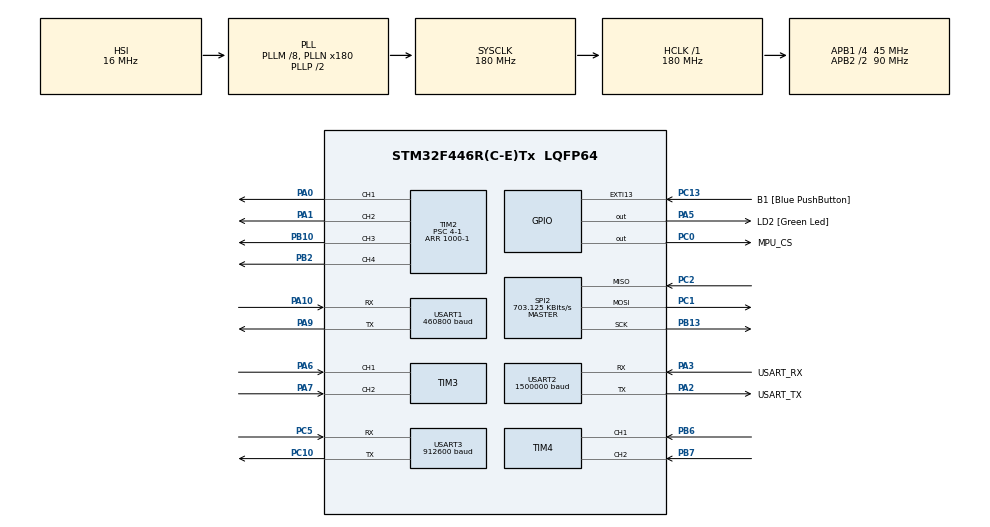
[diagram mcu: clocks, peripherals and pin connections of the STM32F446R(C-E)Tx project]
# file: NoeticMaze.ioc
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Dma.Request0=USART1_RX
Dma.Request1=USART1_TX
Dma.Request2=USART3_RX
Dma.Request3=USART3_TX
Dma.USART1_RX.0.Direction=DMA_PERIPH_TO_MEMORY
Dma.USART1_RX.0.FIFOMode=DMA_FIFOMODE_DISABLE
Dma.USART1_RX.0.Instance=DMA2_Stream2
Dma.USART1_RX.0.MemDataAlignment=DMA_MDATAALIGN_BYTE
Dma.USART1_RX.0.MemInc=DMA_MINC_ENABLE
Dma.USART1_RX.0.Mode=DMA_CIRCULAR
Dma.USART1_RX.0.PeriphDataAlignment=DMA_PDATAALIGN_BYTE
Dma.USART1_RX.0.PeriphInc=DMA_PINC_DISABLE
Dma.USART1_RX.0.Priority=DMA_PRIORITY_LOW
Dma.USART1_TX.1.Direction=DMA_MEMORY_TO_PERIPH
Dma.USART1_TX.1.FIFOMode=DMA_FIFOMODE_DISABLE
Dma.USART1_TX.1.Instance=DMA2_Stream7
Dma.USART1_TX.1.MemDataAlignment=DMA_MDATAALIGN_BYTE
Dma.USART1_TX.1.MemInc=DMA_MINC_ENABLE
Dma.USART1_TX.1.Mode=DMA_NORMAL
Dma.USART1_TX.1.PeriphDataAlignment=DMA_PDATAALIGN_BYTE
Dma.USART1_TX.1.PeriphInc=DMA_PINC_DISABLE
Dma.USART1_TX.1.Priority=DMA_PRIORITY_LOW
Dma.USART3_RX.2.Direction=DMA_PERIPH_TO_MEMORY
Dma.USART3_RX.2.FIFOMode=DMA_FIFOMODE_DISABLE
Dma.USART3_RX.2.Instance=DMA1_Stream1
Dma.USART3_RX.2.MemDataAlignment=DMA_MDATAALIGN_BYTE
Dma.USART3_RX.2.MemInc=DMA_MINC_ENABLE
Dma.USART3_RX.2.Mode=DMA_NORMAL
Dma.USART3_RX.2.PeriphDataAlignment=DMA_PDATAALIGN_BYTE
Dma.USART3_RX.2.PeriphInc=DMA_PINC_DISABLE
Dma.USART3_RX.2.Priority=DMA_PRIORITY_LOW
Dma.USART3_TX.3.Direction=DMA_MEMORY_TO_PERIPH
Dma.USART3_TX.3.FIFOMode=DMA_FIFOMODE_DISABLE
Dma.USART3_TX.3.Instance=DMA1_Stream3
Dma.USART3_TX.3.MemDataAlignment=DMA_MDATAALIGN_BYTE
Dma.USART3_TX.3.MemInc=DMA_MINC_ENABLE
Dma.USART3_TX.3.Mode=DMA_NORMAL
Dma.USART3_TX.3.PeriphDataAlignment=DMA_PDATAALIGN_BYTE
Dma.USART3_TX.3.PeriphInc=DMA_PINC_DISABLE
Dma.USART3_TX.3.Priority=DMA_PRIORITY_LOW
FREERTOS.Events01=PathEvent,Dynamic,NULL
FREERTOS.Mutexes01=PrintfMutex,Dynamic,NULL,Available;MapDataMutex,Dynamic,NULL,Available
FREERTOS.Queues01=LidarQueue,3,4,1,Dynamic,NULL,NULL;ReqQueue,3,20,1,Dynamic,NULL,NULL;RespQueue,2,12,1,Dynamic,NULL,NULL
FREERTOS.Tasks01=defaultTask,8,128,StartDefaultTask,Default,NULL,Dynamic,NULL,NULL;MotionTask,48,256,StartMotionTask,As external,NULL,Dynamic,NULL,NULL;ImuTask,40,512,StartImuTask,As external,NULL,Dynamic,NULL,NULL;LidarRouteTask,32,256,StartLidarRouteTask,As external,NULL,Dynamic,NULL,NULL;AlgorithmBrain,24,1024,StartAlgorithmBrain,As external,NULL,Dynamic,NULL,NULL;TaskPrint,8,1024,StartTaskPrint,As external,NULL,Dynamic,NULL,NULL;PlannerTask,16,1024,StartPlannerTask,As external,NULL,Dynamic,NULL,NULL
FREERTOS.configENABLE_FPU=1
FREERTOS.configTOTAL_HEAP_SIZE=30720
FREERTOS.configUSE_NEWLIB_REENTRANT=1
Mcu.Family=STM32F4
Mcu.Name=STM32F446R(C-E)Tx
Mcu.Package=LQFP64
NVIC.DMA1_Stream1_IRQn=true\:5\:0\:false\:false\:true\:true\:false\:true\:true
NVIC.DMA1_Stream3_IRQn=true\:5\:0\:false\:false\:true\:true\:false\:true\:true
NVIC.DMA2_Stream2_IRQn=true\:5\:0\:false\:false\:true\:true\:false\:true\:true
NVIC.DMA2_Stream7_IRQn=true\:5\:0\:false\:false\:true\:true\:false\:true\:true
NVIC.PriorityGroup=NVIC_PRIORITYGROUP_4
NVIC.TIM6_DAC_IRQn=true\:0\:0\:true\:false\:true\:false\:false\:true\:true
NVIC.TimeBase=TIM6_DAC_IRQn
NVIC.TimeBaseIP=TIM6
NVIC.USART1_IRQn=true\:5\:0\:false\:false\:true\:true\:true\:true\:true
NVIC.USART3_IRQn=true\:5\:0\:false\:false\:true\:true\:true\:true\:true
PA0-WKUP.Signal=S_TIM2_CH1_ETR
PA1.Signal=S_TIM2_CH2
PA10.Mode=Asynchronous
PA10.Signal=USART1_RX
PA13.GPIO_Label=TMS
PA13.Mode=Serial_Wire
PA13.Signal=SYS_JTMS-SWDIO
PA14.GPIO_Label=TCK
PA14.Mode=Serial_Wire
PA14.Signal=SYS_JTCK-SWCLK
PA2.GPIO_Label=USART_TX
PA2.Mode=Asynchronous
PA2.Signal=USART2_TX
PA3.GPIO_Label=USART_RX
PA3.Mode=Asynchronous
PA3.Signal=USART2_RX
PA5.GPIO_Label=LD2 [Green Led]
PA5.Signal=GPIO_Output
PA6.Signal=S_TIM3_CH1
PA7.Signal=S_TIM3_CH2
PA9.Mode=Asynchronous
PA9.Signal=USART1_TX
PB10.Signal=S_TIM2_CH3
PB13.Mode=Full_Duplex_Master
PB13.Signal=SPI2_SCK
PB2.Signal=S_TIM2_CH4
PB3.GPIO_Label=SWO
PB3.Signal=SYS_JTDO-SWO
PB6.Signal=S_TIM4_CH1
PB7.Signal=S_TIM4_CH2
PC0.GPIO_Label=MPU_CS
PC0.GPIO_Speed=GPIO_SPEED_FREQ_VERY_HIGH
PC0.PinState=GPIO_PIN_SET
PC0.Signal=GPIO_Output
PC1.Mode=Full_Duplex_Master
PC1.Signal=SPI2_MOSI
PC10.Mode=Asynchronous
PC10.Signal=USART3_TX
PC13.GPIO_Label=B1 [Blue PushButton]
PC13.GPIO_ModeDefaultEXTI=GPIO_MODE_IT_FALLING
PC13.Signal=GPXTI13
PC14-OSC32_IN.Mode=LSE-External-Oscillator
PC14-OSC32_IN.Signal=RCC_OSC32_IN
PC15-OSC32_OUT.Mode=LSE-External-Oscillator
PC15-OSC32_OUT.Signal=RCC_OSC32_OUT
PC2.Mode=Full_Duplex_Master
PC2.Signal=SPI2_MISO
PC5.Mode=Asynchronous
PC5.Signal=USART3_RX
PH0-OSC_IN.Mode=HSE-External-Oscillator
PH0-OSC_IN.Signal=RCC_OSC_IN
PH1-OSC_OUT.Mode=HSE-External-Oscillator
PH1-OSC_OUT.Signal=RCC_OSC_OUT
ProjectManager.HeapSize=0x200
ProjectManager.StackSize=0x400
ProjectManager.TargetToolchain=CMake
RCC.48MHZClocksFreq_Value=84000000
RCC.AHBFreq_Value=180000000
RCC.APB1CLKDivider=RCC_HCLK_DIV4
RCC.APB1Freq_Value=45000000
RCC.APB1TimFreq_Value=90000000
RCC.APB2CLKDivider=RCC_HCLK_DIV2
RCC.APB2Freq_Value=90000000
RCC.APB2TimFreq_Value=180000000
RCC.CortexFreq_Value=180000000
RCC.FLatency-AdvancedSettings=FLASH_LATENCY_5
RCC.HCLKFreq_Value=180000000
RCC.HSE_VALUE=8000000
RCC.HSI_VALUE=16000000
RCC.PLLM=8
RCC.PLLN=180
RCC.SYSCLKFreq_VALUE=180000000
RCC.SYSCLKSource=RCC_SYSCLKSOURCE_PLLCLK
RCC.USBFreq_Value=180000000
RCC.VCOOutputFreq_Value=360000000
SH.S_TIM2_CH1_ETR.0=TIM2_CH1,PWM Generation1 CH1
SH.S_TIM2_CH2.0=TIM2_CH2,PWM Generation2 CH2
SH.S_TIM2_CH3.0=TIM2_CH3,PWM Generation3 CH3
SH.S_TIM2_CH4.0=TIM2_CH4,PWM Generation4 CH4
SH.S_TIM3_CH1.0=TIM3_CH1,Encoder_Interface
SH.S_TIM3_CH2.0=TIM3_CH2,Encoder_Interface
SH.S_TIM4_CH1.0=TIM4_CH1,Encoder_Interface
SH.S_TIM4_CH2.0=TIM4_CH2,Encoder_Interface
SPI2.BaudRatePrescaler=SPI_BAUDRATEPRESCALER_64
SPI2.CLKPhase=SPI_PHASE_2EDGE
SPI2.CLKPolarity=SPI_POLARITY_HIGH
SPI2.CalculateBaudRate=703.125 KBits/s
SPI2.Direction=SPI_DIRECTION_2LINES
SPI2.Mode=SPI_MODE_MASTER
SPI2.VirtualType=VM_MASTER
TIM2.AutoReloadPreload=TIM_AUTORELOAD_PRELOAD_ENABLE
TIM2.Channel-PWM\ Generation1\ CH1=TIM_CHANNEL_1
TIM2.Channel-PWM\ Generation2\ CH2=TIM_CHANNEL_2
TIM2.Channel-PWM\ Generation3\ CH3=TIM_CHANNEL_3
TIM2.Channel-PWM\ Generation4\ CH4=TIM_CHANNEL_4
TIM2.Period=1000-1
TIM2.Prescaler=4-1
TIM3.EncoderMode=TIM_ENCODERMODE_TI12
TIM3.IC1Filter=8
TIM3.IC2Filter=8
TIM4.EncoderMode=TIM_ENCODERMODE_TI12
TIM4.IC1Filter=8
TIM4.IC2Filter=8
USART1.BaudRate=460800
USART1.VirtualMode=VM_ASYNC
USART2.BaudRate=1500000
USART2.VirtualMode=VM_ASYNC
USART3.BaudRate=912600
USART3.VirtualMode=VM_ASYNC
VP_FREERTOS_VS_CMSIS_V2.Mode=CMSIS_V2
VP_SYS_VS_tim6.Mode=TIM6
VP_TIM2_VS_ClockSourceINT.Mode=Internal
board=NUCLEO-F446RE

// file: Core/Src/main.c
/* USER CODE BEGIN Header */
/**
  ******************************************************************************
  * @file           : main.c
  * @brief          : Main program body
  ******************************************************************************
  * @attention
  *
  * Copyright (c) 2026 STMicroelectronics.
  * All rights reserved.
  *
  * This software is licensed under terms that can be found in the LICENSE file
  * in the root directory of this software component.
  * If no LICENSE file comes with this software, it is provided AS-IS.
  *
  ******************************************************************************
  */
/* USER CODE END Header */
#include "main.h"
#include "cmsis_os.h"
#include "dma.h"
#include "spi.h"
#include "tim.h"
#include "usart.h"
#include "gpio.h"

/* USER CODE BEGIN Includes */
#include <stdio.h>

#include "lidar.h"
#include "MPU6500.h"
#include "printfDebug.h"
#include "roboConifg.h"

/* USER CODE END Includes */

/* USER CODE BEGIN PV */

// imu相关
float32_t fyaw;
uint32_t start_time = 0;
IMU_Yaw_Handler_t imu_handler = {
  .drift_rate = YAW_DRIFT_RATE, // <--- 零漂速率
};

/* USER CODE END PV */

void SystemClock_Config(void);
void MX_FREERTOS_Init(void);

int main(void)
{

  /* MCU Configuration--------------------------------------------------------*/

  /* Reset of all peripherals, Initializes the Flash interface and the Systick. */
  HAL_Init();

  /* Configure the system clock */
  SystemClock_Config();

  /* Initialize all configured peripherals */
  MX_GPIO_Init();
  MX_DMA_Init();
  MX_USART2_UART_Init();
  MX_USART1_UART_Init();
  MX_SPI2_Init();
  MX_TIM2_Init();
  MX_TIM3_Init();
  MX_TIM4_Init();
  MX_USART3_UART_Init();
  /* USER CODE BEGIN 2 */

  // 1. 先在“安静”的环境下初始化 IMU 并加载 DMP 固件
  while(MPU6500Init() != HAL_OK){}; //——>初始化MPU6500
  start_time = HAL_GetTick();       //——>初始化imu零漂速率
  setvbuf(stdout, NULL, _IONBF, 0); // 建议把这句也提前
  // printf("\r\nimu init finish\r\n");

  // 2. IMU 搞定后，再放开雷达的“洪荒之力”
  Lidar_Init(&hlidar1, &huart1);
  Lidar_Start(&hlidar1);
  // printf("\r\nlidar init finish\r\n");

  // === 新增：启动蓝牙串口接收 ===
  // 必须调用这一次，硬件才会开始往 bt_rx_raw_buf 搬运数据
  extern uint8_t bt_rx_raw_buf[]; // 确保主程序能找到这个缓冲区
  HAL_UARTEx_ReceiveToIdle_DMA(&huart3, bt_rx_raw_buf, BT_RX_BUF_SIZE);
  // 禁用 DMA 半传输中断（防止大包时触发两次，影响逻辑）
  __HAL_DMA_DISABLE_IT(huart3.hdmarx, DMA_IT_HT);
  // printf("Bluetooth Rx Started\r\n");

  /* USER CODE END 2 */

  /* Init scheduler */
  osKernelInitialize();  /* Call init function for freertos objects (in cmsis_os2.c) */
  MX_FREERTOS_Init();

  /* Start scheduler */
  osKernelStart();

  /* We should never get here as control is now taken by the scheduler */

  /* Infinite loop */
  while (1)
  {

  }
}

void SystemClock_Config(void)
{
  RCC_OscInitTypeDef RCC_OscInitStruct = {0};
  RCC_ClkInitTypeDef RCC_ClkInitStruct = {0};

  /** Configure the main internal regulator output voltage
  */
  __HAL_RCC_PWR_CLK_ENABLE();
  __HAL_PWR_VOLTAGESCALING_CONFIG(PWR_REGULATOR_VOLTAGE_SCALE1);

  /** Initializes the RCC Oscillators according to the specified parameters
  * in the RCC_OscInitTypeDef structure.
  */
  RCC_OscInitStruct.OscillatorType = RCC_OSCILLATORTYPE_HSI;
  RCC_OscInitStruct.HSIState = RCC_HSI_ON;
  RCC_OscInitStruct.HSICalibrationValue = RCC_HSICALIBRATION_DEFAULT;
  RCC_OscInitStruct.PLL.PLLState = RCC_PLL_ON;
  RCC_OscInitStruct.PLL.PLLSource = RCC_PLLSOURCE_HSI;
  RCC_OscInitStruct.PLL.PLLM = 8;
  RCC_OscInitStruct.PLL.PLLN = 180;
  RCC_OscInitStruct.PLL.PLLP = RCC_PLLP_DIV2;
  RCC_OscInitStruct.PLL.PLLQ = 2;
  RCC_OscInitStruct.PLL.PLLR = 2;
  if (HAL_RCC_OscConfig(&RCC_OscInitStruct) != HAL_OK)
  {
    Error_Handler();
  }

  /** Activate the Over-Drive mode
  */
  if (HAL_PWREx_EnableOverDrive() != HAL_OK)
  {
    Error_Handler();
  }

  /** Initializes the CPU, AHB and APB buses clocks
  */
  RCC_ClkInitStruct.ClockType = RCC_CLOCKTYPE_HCLK|RCC_CLOCKTYPE_SYSCLK
                              |RCC_CLOCKTYPE_PCLK1|RCC_CLOCKTYPE_PCLK2;
  RCC_ClkInitStruct.SYSCLKSource = RCC_SYSCLKSOURCE_PLLCLK;
  RCC_ClkInitStruct.AHBCLKDivider = RCC_SYSCLK_DIV1;
  RCC_ClkInitStruct.APB1CLKDivider = RCC_HCLK_DIV4;
  RCC_ClkInitStruct.APB2CLKDivider = RCC_HCLK_DIV2;

  if (HAL_RCC_ClockConfig(&RCC_ClkInitStruct, FLASH_LATENCY_5) != HAL_OK)
  {
    Error_Handler();
  }
}

/* USER CODE BEGIN 4 */
// 拦截 UART Ex 接收事件回调 (处理 IDLE 中断和 DMA 半满/全满)
/**
 * @brief 工程唯一的串口 RxEvent 回调总入口
 * @param Size: 当前收到的字节数
 */
void HAL_UARTEx_RxEventCallback(UART_HandleTypeDef *huart, uint16_t Size)
{
  // --- 1. 处理雷达数据 (USART1) ---
  if (huart->Instance == USART1)
  {
    // 调用雷达驱动的解析函数
    Lidar_ParseDMA_ISR(&hlidar1, Size);
    // 注意：通常雷达驱动内部会自行重启 DMA，如果没有，这里需要加上
  }

  // --- 2. 处理蓝牙控制指令 (USART3) ---
  else if (huart->Instance == USART3)
  {
    // 只要进到这里，说明硬件层收到了 IDLE 信号或 DMA 满了
    HAL_GPIO_TogglePin(LD2_GPIO_Port, LD2_Pin);

    if (Size > 0)
    {
      // 使用 Size 而不是硬编码 12，因为蓝牙指令可能因为各种原因分两段到
      memcpy(bt_process_buf, (char*)bt_rx_raw_buf, Size);
      bt_process_buf[Size] = '\0';
      bt_frame_ready = 1;
    }

    // 重新开启（针对 Normal 模式或防止溢出后死锁）
    HAL_UARTEx_ReceiveToIdle_DMA(&huart3, bt_rx_raw_buf, BT_RX_BUF_SIZE);
    __HAL_DMA_DISABLE_IT(huart3.hdmarx, DMA_IT_HT);
  }
}
/* USER CODE END 4 */

void HAL_TIM_PeriodElapsedCallback(TIM_HandleTypeDef *htim)
{
  if (htim->Instance == TIM6)
  {
    HAL_IncTick();
  }
}

void Error_Handler(void)
{
  __disable_irq();
  while (1)
  {
  }
}

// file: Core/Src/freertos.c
/* USER CODE BEGIN Header */
/**
  ******************************************************************************
  * File Name          : freertos.c
  * Description        : Code for freertos applications
  ******************************************************************************
  * @attention
  *
  * Copyright (c) 2026 STMicroelectronics.
  * All rights reserved.
  *
  * This software is licensed under terms that can be found in the LICENSE file
  * in the root directory of this software component.
  * If no LICENSE file comes with this software, it is provided AS-IS.
  *
  ******************************************************************************
  */
/* USER CODE END Header */

#include "FreeRTOS.h"
#include "task.h"
#include "main.h"
#include "cmsis_os.h"

/* USER CODE BEGIN Includes */
#include "planner_core.h"
#include "lidar.h"

#ifndef STATIC_ASSERT
#define STATIC_ASSERT(expr, msg) _Static_assert((expr), msg)
#endif

STATIC_ASSERT(sizeof(PlannerReqMsg) == 24, "PlannerReqMsg size changed: update ReqQueue item size if CubeMX regenerates freertos.c");
STATIC_ASSERT(sizeof(PlannerRespMsg) == 12, "PlannerRespMsg size changed: update RespQueue item size if CubeMX regenerates freertos.c");
STATIC_ASSERT(sizeof(LidarMap_t*) == 4, "LidarQueue currently expects pointer-sized items on 32-bit STM32");
/* USER CODE END Includes */

/* Definitions for defaultTask */
osThreadId_t defaultTaskHandle;
const osThreadAttr_t defaultTask_attributes = {
  .name = "defaultTask",
  .stack_size = 128 * 4,
  .priority = (osPriority_t) osPriorityLow,
};
/* Definitions for MotionTask */
osThreadId_t MotionTaskHandle;
const osThreadAttr_t MotionTask_attributes = {
  .name = "MotionTask",
  .stack_size = 256 * 4,
  .priority = (osPriority_t) osPriorityRealtime,
};
/* Definitions for ImuTask */
osThreadId_t ImuTaskHandle;
const osThreadAttr_t ImuTask_attributes = {
  .name = "ImuTask",
  .stack_size = 512 * 4,
  .priority = (osPriority_t) osPriorityHigh,
};
/* Definitions for LidarRouteTask */
osThreadId_t LidarRouteTaskHandle;
const osThreadAttr_t LidarRouteTask_attributes = {
  .name = "LidarRouteTask",
  .stack_size = 256 * 4,
  .priority = (osPriority_t) osPriorityAboveNormal,
};
/* Definitions for AlgorithmBrain */
osThreadId_t AlgorithmBrainHandle;
const osThreadAttr_t AlgorithmBrain_attributes = {
  .name = "AlgorithmBrain",
  .stack_size = 1024 * 4,
  .priority = (osPriority_t) osPriorityNormal,
};
/* Definitions for TaskPrint */
osThreadId_t TaskPrintHandle;
const osThreadAttr_t TaskPrint_attributes = {
  .name = "TaskPrint",
  .stack_size = 1024 * 4,
  .priority = (osPriority_t) osPriorityLow,
};
/* Definitions for PlannerTask */
osThreadId_t PlannerTaskHandle;
const osThreadAttr_t PlannerTask_attributes = {
  .name = "PlannerTask",
  .stack_size = 1024 * 4,
  .priority = (osPriority_t) osPriorityBelowNormal,
};
/* Definitions for LidarQueue */
osMessageQueueId_t LidarQueueHandle;
const osMessageQueueAttr_t LidarQueue_attributes = {
  .name = "LidarQueue"
};
/* Definitions for ReqQueue */
osMessageQueueId_t ReqQueueHandle;
const osMessageQueueAttr_t ReqQueue_attributes = {
  .name = "ReqQueue"
};
/* Definitions for RespQueue */
osMessageQueueId_t RespQueueHandle;
const osMessageQueueAttr_t RespQueue_attributes = {
  .name = "RespQueue"
};
/* Definitions for PrintfMutex */
osMutexId_t PrintfMutexHandle;
const osMutexAttr_t PrintfMutex_attributes = {
  .name = "PrintfMutex"
};
/* Definitions for MapDataMutex */
osMutexId_t MapDataMutexHandle;
const osMutexAttr_t MapDataMutex_attributes = {
  .name = "MapDataMutex"
};
/* Definitions for PathEvent */
osEventFlagsId_t PathEventHandle;
const osEventFlagsAttr_t PathEvent_attributes = {
  .name = "PathEvent"
};

void StartDefaultTask(void *argument);
extern void StartMotionTask(void *argument);
extern void StartImuTask(void *argument);
extern void StartLidarRouteTask(void *argument);
extern void StartAlgorithmBrain(void *argument);
extern void StartTaskPrint(void *argument);
extern void StartPlannerTask(void *argument);

void MX_FREERTOS_Init(void); /* (MISRA C 2004 rule 8.1) */

void MX_FREERTOS_Init(void) {
  /* Create the mutex(es) */
  /* creation of PrintfMutex */
  PrintfMutexHandle = osMutexNew(&PrintfMutex_attributes);

  /* creation of MapDataMutex */
  MapDataMutexHandle = osMutexNew(&MapDataMutex_attributes);

  /* Create the queue(s) */
  /* creation of LidarQueue */
  LidarQueueHandle = osMessageQueueNew(3, sizeof(LidarMap_t*), &LidarQueue_attributes);

  /* creation of ReqQueue */
  ReqQueueHandle = osMessageQueueNew(3, sizeof(PlannerReqMsg), &ReqQueue_attributes);

  /* creation of RespQueue */
  RespQueueHandle = osMessageQueueNew(2, sizeof(PlannerRespMsg), &RespQueue_attributes);

  /* Create the thread(s) */
  /* creation of defaultTask */
  defaultTaskHandle = osThreadNew(StartDefaultTask, NULL, &defaultTask_attributes);

  /* creation of MotionTask */
  MotionTaskHandle = osThreadNew(StartMotionTask, NULL, &MotionTask_attributes);

  /* creation of ImuTask */
  ImuTaskHandle = osThreadNew(StartImuTask, NULL, &ImuTask_attributes);

  /* creation of LidarRouteTask */
  LidarRouteTaskHandle = osThreadNew(StartLidarRouteTask, NULL, &LidarRouteTask_attributes);

  /* creation of AlgorithmBrain */
  AlgorithmBrainHandle = osThreadNew(StartAlgorithmBrain, NULL, &AlgorithmBrain_attributes);

  /* creation of TaskPrint */
  TaskPrintHandle = osThreadNew(StartTaskPrint, NULL, &TaskPrint_attributes);

  /* creation of PlannerTask */
  PlannerTaskHandle = osThreadNew(StartPlannerTask, NULL, &PlannerTask_attributes);

  /* creation of PathEvent */
  PathEventHandle = osEventFlagsNew(&PathEvent_attributes);

}

void StartDefaultTask(void *argument)
{
  for(;;)
  {
    osDelay(1);
  }
}
